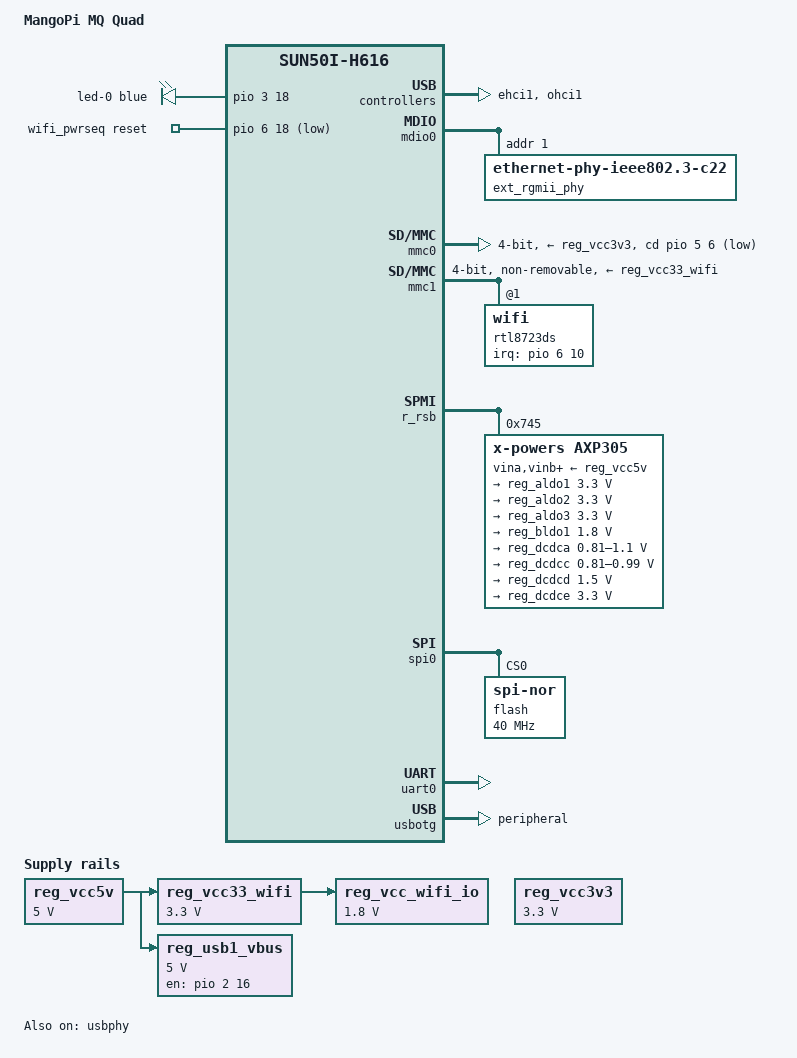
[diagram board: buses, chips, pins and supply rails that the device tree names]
// SPDX-License-Identifier: (GPL-2.0+ or MIT)

/dts-v1/;

#include "sun50i-h616.dtsi"

#include <dt-bindings/gpio/gpio.h>
#include <dt-bindings/interrupt-controller/arm-gic.h>
#include <dt-bindings/leds/common.h>

/ {
	model = "MangoPi MQ Quad";
	compatible = "widora,mangopi-mq-quad", "allwinner,sun50i-h616";

	aliases {
		ethernet0 = &rtl8723ds;
		serial0 = &uart0;
	};

	chosen {
		stdout-path = "serial0:115200n8";
	};

	leds {
		compatible = "gpio-leds";

		led-0 {
			color = <LED_COLOR_ID_BLUE>;
			function = LED_FUNCTION_STATUS;
			gpios = <&pio 3 18 GPIO_ACTIVE_HIGH>; /* PD18 */
		};
	};

	reg_vcc5v: vcc5v {
		/* board wide 5V supply directly from the USB-C socket */
		compatible = "regulator-fixed";
		regulator-name = "vcc-5v";
		regulator-min-microvolt = <5000000>;
		regulator-max-microvolt = <5000000>;
		regulator-always-on;
	};

	reg_vcc3v3: vcc3v3 {
		compatible = "regulator-fixed";
		regulator-name = "vcc-3v3";
		regulator-min-microvolt = <3300000>;
		regulator-max-microvolt = <3300000>;
		regulator-always-on;
	};

	reg_vcc33_wifi: vcc33-wifi {
		compatible = "regulator-fixed";
		regulator-name = "vcc33-wifi";
		regulator-min-microvolt = <3300000>;
		regulator-max-microvolt = <3300000>;
		regulator-always-on;
		vin-supply = <&reg_vcc5v>;
	};

	reg_vcc_wifi_io: vcc-wifi-io {
		compatible = "regulator-fixed";
		regulator-name = "vcc-wifi-io";
		regulator-min-microvolt = <1800000>;
		regulator-max-microvolt = <1800000>;
		regulator-always-on;
		vin-supply = <&reg_vcc33_wifi>;
	};

	wifi_pwrseq: wifi-pwrseq {
		compatible = "mmc-pwrseq-simple";
		clocks = <&rtc 1>;
		clock-names = "osc32k-out";
		reset-gpios = <&pio 6 18 GPIO_ACTIVE_LOW>; /* PG18 */
		post-power-on-delay-ms = <200>;
	};

	reg_usb1_vbus: regulator-usb1-vbus {
		compatible = "regulator-fixed";
		regulator-name = "usb1-vbus";
		regulator-min-microvolt = <5000000>;
		regulator-max-microvolt = <5000000>;
		vin-supply = <&reg_vcc5v>;
		enable-active-high;
		gpio = <&pio 2 16 GPIO_ACTIVE_HIGH>; /* PC16 */
	};
};

&ehci1 {
	status = "okay";
};

/* USB 2 & 3 are on headers only. */

&mdio0 {
	ext_rgmii_phy: ethernet-phy@1 {
		compatible = "ethernet-phy-ieee802.3-c22";
		reg = <1>;
	};
};

&mmc0 {
	vmmc-supply = <&reg_vcc3v3>;
	cd-gpios = <&pio 5 6 GPIO_ACTIVE_LOW>;	/* PF6 */
	bus-width = <4>;
	status = "okay";
};

&mmc1 {
	vmmc-supply = <&reg_vcc33_wifi>;
	vqmmc-supply = <&reg_vcc_wifi_io>;
	mmc-pwrseq = <&wifi_pwrseq>;
	bus-width = <4>;
	non-removable;
	mmc-ddr-1_8v;
	status = "okay";

	rtl8723ds: wifi@1 {
		reg = <1>;
		interrupt-parent = <&pio>;
		interrupts = <6 10 IRQ_TYPE_LEVEL_LOW>; /* PG10 */
		interrupt-names = "host-wake";
	};
};

&ohci1 {
	status = "okay";
};

&r_rsb {
	status = "okay";

	axp305: pmic@745 {
		compatible = "x-powers,axp305", "x-powers,axp805",
			    "x-powers,axp806";
		interrupt-controller;
		#interrupt-cells = <1>;
		reg = <0x745>;

		x-powers,self-working-mode;
		vina-supply = <&reg_vcc5v>;
		vinb-supply = <&reg_vcc5v>;
		vinc-supply = <&reg_vcc5v>;
		vind-supply = <&reg_vcc5v>;
		vine-supply = <&reg_vcc5v>;
		aldoin-supply = <&reg_vcc5v>;
		bldoin-supply = <&reg_vcc5v>;
		cldoin-supply = <&reg_vcc5v>;

		regulators {
			reg_aldo1: aldo1 {
				regulator-always-on;
				regulator-min-microvolt = <3300000>;
				regulator-max-microvolt = <3300000>;
				regulator-name = "vcc-sys";
			};

			reg_aldo2: aldo2 {	/* 3.3V on headers */
				regulator-always-on;
				regulator-min-microvolt = <3300000>;
				regulator-max-microvolt = <3300000>;
				regulator-name = "vcc3v3-ext";
			};

			reg_aldo3: aldo3 {	/* 3.3V on headers */
				regulator-always-on;
				regulator-min-microvolt = <3300000>;
				regulator-max-microvolt = <3300000>;
				regulator-name = "vcc3v3-ext2";
			};

			reg_bldo1: bldo1 {
				regulator-always-on;
				regulator-min-microvolt = <1800000>;
				regulator-max-microvolt = <1800000>;
				regulator-name = "vcc1v8";
			};

			bldo2 {
				/* unused */
			};

			bldo3 {
				/* unused */
			};

			bldo4 {
				/* unused */
			};

			cldo1 {
				/* reserved */
			};

			cldo2 {
				/* unused */
			};

			cldo3 {
				/* unused */
			};

			reg_dcdca: dcdca {
				regulator-always-on;
				regulator-min-microvolt = <810000>;
				regulator-max-microvolt = <1100000>;
				regulator-name = "vdd-cpu";
			};

			reg_dcdcc: dcdcc {
				regulator-always-on;
				regulator-min-microvolt = <810000>;
				regulator-max-microvolt = <990000>;
				regulator-name = "vdd-gpu-sys";
			};

			reg_dcdcd: dcdcd {
				regulator-always-on;
				regulator-min-microvolt = <1500000>;
				regulator-max-microvolt = <1500000>;
				regulator-name = "vdd-dram";
			};

			reg_dcdce: dcdce {
				regulator-always-on;
				regulator-min-microvolt = <3300000>;
				regulator-max-microvolt = <3300000>;
				regulator-name = "vcc-eth-mmc";
			};

			sw {
				/* unused */
			};
		};
	};
};

&pio {
	vcc-pc-supply = <&reg_vcc3v3>;
	vcc-pf-supply = <&reg_vcc3v3>;
	vcc-pg-supply = <&reg_vcc3v3>;
	vcc-ph-supply = <&reg_vcc3v3>;
	vcc-pi-supply = <&reg_vcc3v3>;
};

&spi0  {
	status = "okay";
	pinctrl-names = "default";
	pinctrl-0 = <&spi0_pins>, <&spi0_cs0_pin>;

	flash@0 {
		#address-cells = <1>;
		#size-cells = <1>;
		compatible = "jedec,spi-nor";
		reg = <0>;
		spi-max-frequency = <40000000>;
	};
};

&uart0 {
	pinctrl-names = "default";
	pinctrl-0 = <&uart0_ph_pins>;
	status = "okay";
};

&usbotg {
	/*
	* PHY0 pins are connected to a USB-C socket, but a role switch
	* is not implemented: both CC pins are pulled to GND.
	* The VBUS pins power the device, so a fixed peripheral mode
	* is the best choice.
	* The board can be powered via GPIOs, in this case port0 *can*
	* act as a host (with a cable/adapter ignoring CC), as VBUS is
	* then provided by the GPIOs. Any user of this setup would
	* need to adjust the DT accordingly: dr_mode set to "host",
	* enabling OHCI0 and EHCI0.
	*/
	dr_mode = "peripheral";
	status = "okay";
};

&usbphy {
	usb1_vbus-supply = <&reg_usb1_vbus>;
	status = "okay";
};
